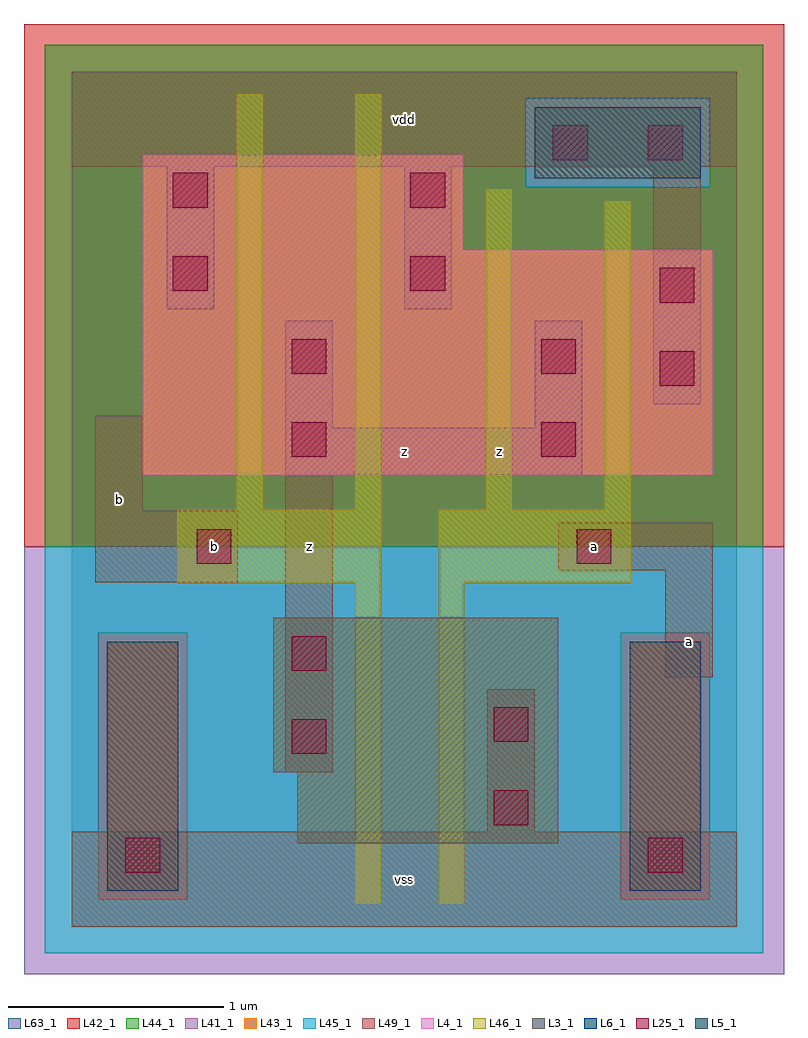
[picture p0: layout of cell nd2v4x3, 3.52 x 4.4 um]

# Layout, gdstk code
import gdstk
lib = gdstk.Library(unit=1e-6, precision=1e-09)
def R(c, l, rs):  # rectangles x0, y0, x1, y1
    for r in rs: c.add(gdstk.rectangle(r[:2], r[2:], *l))
L3_1 = (3, 1)
L4_1 = (4, 1)
L5_1 = (5, 1)
L6_1 = (6, 1)
L25_1 = (25, 1)
L41_1 = (41, 1)
L42_1 = (42, 1)
L43_1 = (43, 1)
L44_1 = (44, 1)
L45_1 = (45, 1)
L46_1 = (46, 1)
L49_1 = (49, 1)
L63_1 = (63, 1)

nd2v4x3 = lib.new_cell('nd2v4x3')
R(nd2v4x3, L3_1, [(1.045,0.385,2.255,0.715), (0.935,0.715,2.255,1.43)])
R(nd2v4x3, L4_1, [(0.33,2.09,2.97,3.135), (0.33,3.135,1.815,3.575)])
R(nd2v4x3, L5_1, [(2.145,3.465,2.915,3.795)])
R(nd2v4x3, L6_1, [(0.165,0.165,0.495,1.32), (2.585,0.165,2.915,1.32)])
R(nd2v4x3, L25_1, [(0.25,0.25,0.41,0.41), (2.67,0.25,2.83,0.41), (1.955,0.47,2.115,0.63), (1.02,0.8,1.18,0.96), (1.955,0.855,2.115,1.015), (1.02,1.185,1.18,1.345), (0.58,1.68,0.74,1.84), (2.34,1.68,2.5,1.84), (1.02,2.175,1.18,2.335), (2.175,2.175,2.335,2.335), (2.725,2.505,2.885,2.665), (1.02,2.56,1.18,2.72), (2.175,2.56,2.335,2.72), (2.725,2.89,2.885,3.05), (0.47,2.945,0.63,3.105), (1.57,2.945,1.73,3.105), (0.47,3.33,0.63,3.49), (1.57,3.33,1.73,3.49), (2.23,3.55,2.39,3.71), (2.67,3.55,2.83,3.71)])
R(nd2v4x3, L41_1, [(-0.22,-0.22,3.3,1.76)])
R(nd2v4x3, L42_1, [(-0.22,1.76,3.3,4.18)])
R(nd2v4x3, L43_1, [(0.165,0.165,0.495,1.32), (2.585,0.165,2.915,1.32), (1.045,0.385,2.255,0.715), (0.935,0.715,2.255,1.43), (0.33,2.09,2.97,3.135), (0.33,3.135,1.815,3.575), (2.145,3.465,2.915,3.795)])
R(nd2v4x3, L44_1, [(0.125,0.125,0.535,1.36), (2.545,0.125,2.955,1.36), (-0.125,1.76,3.205,3.425), (-0.125,3.425,2.105,3.835), (2.955,3.425,3.205,3.835), (-0.125,3.835,3.205,4.085)])
R(nd2v4x3, L45_1, [(-0.125,-0.125,3.205,0.125), (-0.125,0.125,0.125,1.36), (0.535,0.125,2.545,1.36), (2.955,0.125,3.205,1.36), (-0.125,1.36,3.205,1.76), (2.105,3.425,2.955,3.835)])
R(nd2v4x3, L46_1, [(1.315,0.105,1.435,1.59), (1.7,0.105,1.82,1.59), (0.49,1.59,1.435,1.93), (1.7,1.59,2.59,1.93), (0.765,1.93,0.885,3.855), (1.315,1.93,1.435,3.855), (1.92,1.93,2.04,3.415), (2.47,1.93,2.59,3.36)])
R(nd2v4x3, L49_1, [(0,0,3.08,0.44), (1.925,0.44,2.145,1.1), (0.99,0.715,1.21,2.09), (2.75,1.155,2.97,1.65), (0.11,1.595,0.77,1.925), (2.255,1.65,2.97,1.87), (0.11,1.925,0.33,2.365), (0.99,2.09,2.365,2.31), (0.99,2.31,1.21,2.805), (2.145,2.31,2.365,2.805), (2.695,2.42,2.915,3.52), (0.44,2.86,0.66,3.52), (1.54,2.86,1.76,3.52), (0,3.52,3.08,3.96)])
R(nd2v4x3, L63_1, [(0,0,3.08,3.96)])
nd2v4x3.add(gdstk.Label('b', (0.22,1.98), layer=49, texttype=1))
nd2v4x3.add(gdstk.Label('b', (0.66,1.76), layer=49, texttype=1))
nd2v4x3.add(gdstk.Label('z', (1.1,1.76), layer=49, texttype=1))
nd2v4x3.add(gdstk.Label('vss', (1.54,0.22), layer=49, texttype=1))
nd2v4x3.add(gdstk.Label('z', (1.98,2.2), layer=49, texttype=1))
nd2v4x3.add(gdstk.Label('z', (1.54,2.2), layer=49, texttype=1))
nd2v4x3.add(gdstk.Label('vdd', (1.54,3.74), layer=49, texttype=1))
nd2v4x3.add(gdstk.Label('a', (2.42,1.76), layer=49, texttype=1))
nd2v4x3.add(gdstk.Label('a', (2.86,1.32), layer=49, texttype=1))

lib.write_gds('nd2v4x3.gds')
